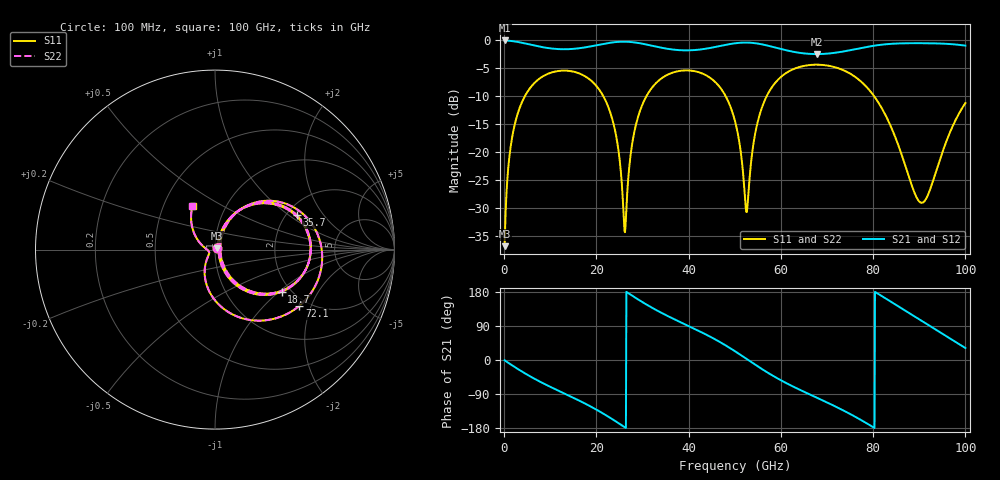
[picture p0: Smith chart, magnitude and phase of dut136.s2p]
! Touchstone file exported from HFSS 2026.1.0
!  File:  C:/ffzhzh/LocalFiles/Ansys_Project_Files/temp_train_TSV_RDL_136_1783461884_50928.aedt
!  Generated:  06:17:27 AM Jul  8, 2026
!  Design:  TSV_RDL
!  Project:  temp_train_TSV_RDL_136_1783461884_50928
! Variables:
!  h_bsmrdl = 3.15um
!  h_ox = 20um
!  h_rdl = 5um
!  h_sub = 96.63um
!  h_tmrdl = 3.95um
!  h_tsv = 96.63um
!  h_via = 3um
!  l_bsmrdl = 329.87um
!  l_sub = 2044.5um
!  l_tmrdl = 136.76um
!  m_sub = 200um
!  pitch = 46.36um
!  r_tsv = 6.07um
!  s_tmrdl = 10um
!  w_bsmrdl = 17.37um
!  w_sub = 500um
!  w_tmrdl = 18.58um
!  x_tsv_center1 = 146.05um
!  x_tsv_center2 = 493.29um
!  x_tsv_center3 = 648.63um
!  x_tsv_center4 = 995.87um
!  x_tsv_center5 = 1151.21um
!  x_tsv_center6 = 1498.45um
# GHz S MA R 50.000000
! Terminal data exported
! Port[1] = TM_RDL1_1_T1
! Port[2] = TM_RDL5_1_T1
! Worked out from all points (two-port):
!   1000 points, 100 MHz to 100 GHz, reference 50 ohm
!   highest |S21| = -0.10 dB at 100 MHz (marker M1); lowest = -2.5 dB at 67.8 GHz (marker M2)
!   |S21| within 3 dB of the highest: start of sweep to end of sweep
!   lowest |S11| = -36.8 dB at 100 MHz (marker M3), VSWR 1.03, Z = 51.2 + j0.844 ohm
!   |S11| at or under -10 dB: 21.47 GHz to 30.87 GHz (9.399 GHz wide, 35.9 % of centre); 48.01 GHz to 56.94 GHz (8.937 GHz wide, 17 % of centre); 80.17 GHz to end of sweep (the widest 3 of 4)
!   |S22| runs from -36.8 to -4.4 dB; largest |S21 - S12| = 2.4e-14
!   S11 on the Smith chart (normalised r, x): 100 MHz: 1.02, +0.02; 18.7 GHz: 1.79, -1.04; 35.7 GHz: 2.28, +1.15; 72.1 GHz: 1.80, -1.65; 100 GHz: 0.70, +0.37
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0.1  0.01452 34.6  0.9881 -0.8  0.9881 -0.8  0.01452 34.6
! Gamma 0 0 0 0
! Port Impedance 50 0 50 0
1.6  0.1258 70.1  0.9771 -13.1  0.9771 -13.1  0.1258 70.1
4.3  0.3041 52.8  0.9341 -33.7  0.9341 -33.7  0.3041 52.8
10.9  0.5205 12.1  0.8328 -76.1  0.8328 -76.1  0.5205 12.1
16.8  0.492 -21.0  0.8479 -110.4  0.8479 -110.4  0.492 -21.0
18.7  0.4389 -32.4  0.874 -122.3  0.874 -122.3  0.439 -32.4
23.6  0.1862 -63.2  0.9502 -157.3  0.9502 -157.3  0.1863 -63.1
26.2  0.01934 8.7  0.9631 -177.8  0.9631 -177.8  0.01966 8.3
28.7  0.1839 65.5  0.9436 162.4  0.9436 162.4  0.1838 65.4
33.4  0.4298 36.3  0.8628 129.0  0.8628 129.0  0.4297 36.3
35.7  0.4953 22.7  0.8293 114.6  0.8293 114.6  0.4952 22.7
44.2  0.4726 -24.9  0.8404 64.5  0.8404 64.5  0.4726 -24.8
50.1  0.1855 -59.9  0.9328 22.7  0.9328 22.7  0.1856 -59.7
52.6  0.02922 8.4  0.946 2.5  0.946 2.5  0.02992 8.3
54.4  0.1446 65.6  0.9343 -12.1  0.9343 -12.1  0.1448 65.3
56.8  0.3076 53.5  0.8957 -30.9  0.8957 -30.9  0.3077 53.4
66.7  0.599 -4.2  0.7487 -93.4  0.7487 -93.4  0.599 -4.3
67.8  0.6011 -10.1  0.7471 -99.6  0.7471 -99.6  0.601 -10.1
72.1  0.5649 -33.7  0.7711 -124.3  0.7711 -124.3  0.5648 -33.7
83.4  0.1855 -106.2  0.9189 157.2  0.9189 157.2  0.1855 -106.1
90.6  0.03534 -160.2  0.9339 102.7  0.9339 102.7  0.03538 -159.6
100  0.2736 117.3  0.8886 31.6  0.8886 31.6  0.2736 117.3
